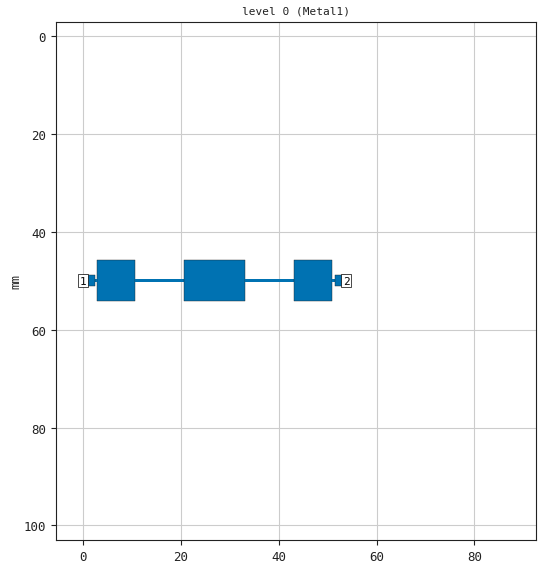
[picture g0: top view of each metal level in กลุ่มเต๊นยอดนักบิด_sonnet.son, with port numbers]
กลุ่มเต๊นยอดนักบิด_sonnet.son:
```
FTYP SONPROJ 19 ! Sonnet Project File
VER 18.53
HEADER
LIC SL6571f997
DAT 04/03/2024 20:29:59
BUILT_BY_CREATED xgeom 18.53-Lite 01/12/2024 14:59:48
BUILT_BY_SAVED sonnet 18.53-Lite
MDATE 03/14/2024 18:50:48
HDATE 03/14/2024 18:50:48
END HEADER
DIM
ANG DEG
CAP PF
CON /OH
FREQ GHZ
IND NH
LNG MM
RES OH
END DIM
CONTROL
VARSWP
OPTIONS  -dj
SPEED 0
CACHE_ABS 2
Q_ACC N
END CONTROL
GEO
TMET "Lossless" 0 SUP 0 0 0 0
BMET "Copper" 1 NOR 58000000 0.5 1.6 
BOX 1 53.84452 100 1076 2000 20 0
      16 1 1 0 0 0 0 "Air"
      1.6 4.4 1 0.02 0 0 0 "FR-4"
TECHLAY METAL Metal1 <UNSPECIFIED> -2 -65534 
0 0 -1 N 206 1 1 100 100 0 0 0 Y
END
END
LORGN 0 100 U 
POR1 BOX
POLY 196 1
3
1 50 0 0 0 -0.002068773234 50 
POR1 BOX
POLY 197 1
1
2 50 0 0 0 53.81093123 50 
NUM 11
0 5 -1 N 28 1 1 100 100 0 0 0 Y
TLAYNAM Metal1 INH
89.373 32.65361
89.627 32.65361
89.627 32.67139
89.373 32.67139
89.373 32.65361
END
0 5 -1 N 155 1 1 100 100 0 0 0 Y
TLAYNAM Metal1 INH
2.897931227 45.827845
10.61844123 45.827845
10.61844123 54.172155
2.897931227 54.172155
2.897931227 45.827845
END
0 5 -1 N 156 1 1 100 100 0 0 0 Y
TLAYNAM Metal1 INH
10.59793123 49.66881
20.70883123 49.66881
20.70883123 50.33119
10.59793123 50.33119
10.59793123 49.66881
END
0 5 -1 N 158 1 1 100 100 0 0 0 Y
TLAYNAM Metal1 INH
20.69793123 45.827845
33.08963123 45.827845
33.08963123 54.172155
20.69793123 54.172155
20.69793123 45.827845
END
0 5 -1 N 159 1 1 100 100 0 0 0 Y
TLAYNAM Metal1 INH
33.09793123 49.66881
43.20883123 49.66881
43.20883123 50.33119
33.09793123 50.33119
33.09793123 49.66881
END
0 5 -1 N 160 1 1 100 100 0 0 0 Y
TLAYNAM Metal1 INH
43.19793123 45.827845
50.91844123 45.827845
50.91844123 54.172155
43.19793123 54.172155
43.19793123 45.827845
END
0 5 -1 N 190 1 1 100 100 0 0 0 Y
TLAYNAM Metal1 INH
2.415931227 49.669
2.897931227 49.669
2.897931227 50.331
2.415931227 50.331
2.415931227 49.669
END
0 5 -1 N 191 1 1 100 100 0 0 0 Y
TLAYNAM Metal1 INH
50.91844123 49.669
51.40044123 49.669
51.40044123 50.331
50.91844123 50.331
50.91844123 49.669
END
0 5 -1 N 195 1 1 100 100 0 0 0 Y
TLAYNAM Metal1 INH
-2.6 64.1
-2.3 64.1
-2.3 64.2
-2.6 64.2
-2.6 64.1
END
0 5 -1 N 196 1 1 100 100 0 0 0 Y
TLAYNAM Metal1 INH
-0.002068773234 48.857
2.410931227 48.857
2.410931227 51.143
-0.002068773234 51.143
-0.002068773234 48.857
END
0 5 -1 N 197 1 1 100 100 0 0 0 Y
TLAYNAM Metal1 INH
51.39793123 48.857
53.81093123 48.857
53.81093123 51.143
51.39793123 51.143
51.39793123 48.857
END
END GEO
OPT
MAX 100
END OPT
VARSWP
ENABLED Y
FREQ N AY ABS_ENTRY UNK 
FREQ Y AN SWEEP 1.0 3.0 0.1
END
END VARSWP
TRANSLATOR
DXFEXPORT
UseTLs true
SepObj true
SepMat true
DivideMulti false
Circles false
CircleType inscribed
CircleSize 0
KeepMetals true
KeepVias true
KeepViaPads true
KeepBricks true
KeepEdgeVias true
KeepParent true
ConvertParent false
AllEdgeViasAsVia false
END
END TRANSLATOR
```
